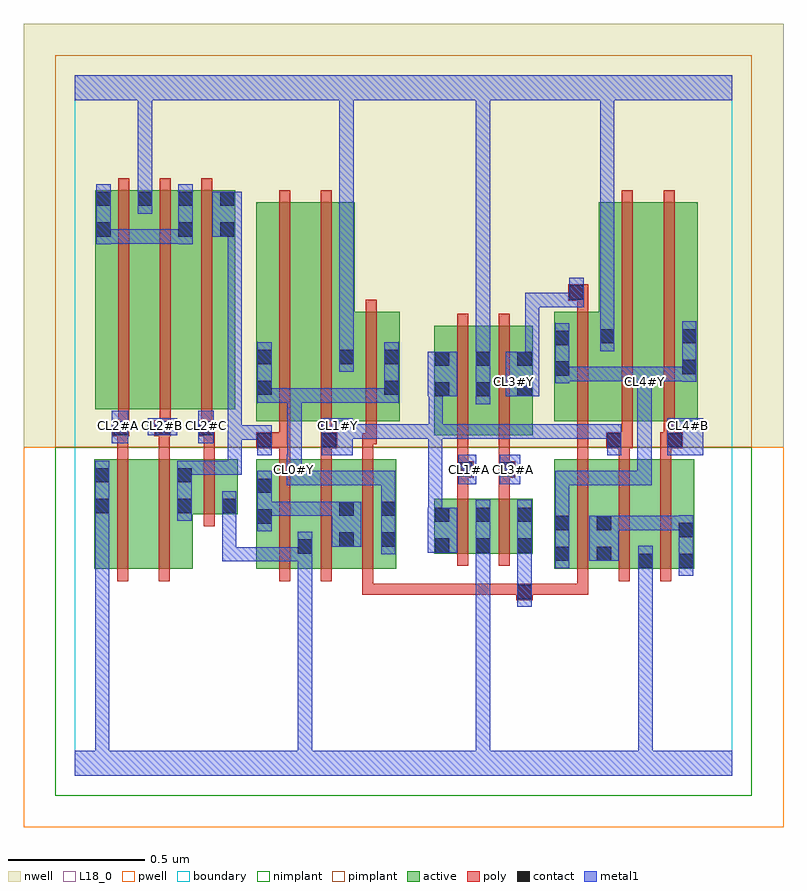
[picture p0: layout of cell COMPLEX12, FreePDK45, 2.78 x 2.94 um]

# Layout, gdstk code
import gdstk
lib = gdstk.Library(unit=1e-6, precision=1e-09)
def R(c, l, rs):  # rectangles x0, y0, x1, y1
    for r in rs: c.add(gdstk.rectangle(r[:2], r[2:], *l))
def A(c, l, x, y, w, h, nx, ny, dx, dy):  # array of equal rectangles
    R(c, l, [(x+i*dx, y+j*dy, x+i*dx+w, y+j*dy+h) for i in range(nx) for j in range(ny)])
active = (1, 0)
pwell = (2, 0)
nwell = (3, 0)
nimplant = (4, 0)
pimplant = (5, 0)
poly = (9, 0)
contact = (10, 0)
metal1 = (11, 0)
L18_0 = (18, 0)
boundary = (235, 0)

complex12 = lib.new_cell('COMPLEX12')
R(complex12, active, [(0.07,0.756,0.13,1.156), (0.07,0.756,0.25,1.156), (0.25,0.756,0.43,1.156), (0.662,0.756,0.722,1.156), (0.662,0.756,0.87,1.156), (0.81,0.756,1.022,1.156), (0.81,0.756,0.87,0.898), (0.962,0.756,1.174,1.156), (0.962,0.756,1.022,1.01), (1.114,0.756,1.174,1.156), (1.75,0.756,1.81,1.156), (1.75,0.756,1.962,1.156), (1.902,0.756,2.114,1.156), (1.902,0.756,1.962,0.954), (2.054,0.756,2.262,1.156), (2.054,0.756,2.114,0.816), (2.202,0.756,2.262,1.156), (0.37,0.812,0.43,1.128), (1.312,0.812,1.372,1.012), (1.312,0.812,1.52,1.012), (1.46,0.812,1.52,1.012), (1.46,0.812,1.672,1.012), (1.612,0.812,1.672,1.012), (0.37,0.956,0.594,1.156), (0.534,0.956,0.594,1.156), (1.312,1.244,1.372,1.644), (1.312,1.244,1.52,1.644), (1.46,1.244,1.672,1.644), (1.612,1.244,1.672,1.644), (0.662,1.296,0.722,2.044), (0.662,1.296,0.842,2.096), (0.842,1.296,1.022,2.096), (0.962,1.296,1.186,1.696), (1.126,1.296,1.186,1.644), (1.46,1.296,1.52,1.644), (1.75,1.296,1.81,1.696), (1.75,1.296,1.974,1.696), (1.914,1.296,2.094,2.096), (1.914,1.296,1.974,1.93), (2.094,1.296,2.274,2.096), (2.214,1.296,2.274,2.044), (0.074,1.34,0.134,2.14), (0.074,1.34,0.286,2.14), (0.226,1.34,0.434,2.14), (0.226,1.34,0.286,2.138), (0.374,1.34,0.434,2.14), (0.374,1.34,0.586,2.14), (0.526,1.34,0.586,2.14), (0.962,1.348,1.022,1.696)])
R(complex12, pwell, [(-0.188,-0.188,2.588,1.2)])
R(complex12, nwell, [(-0.188,1.2,2.588,2.748)])
R(complex12, nimplant, [(-0.072,-0.072,2.472,1.2)])
R(complex12, pimplant, [(-0.072,1.2,2.472,2.632)])
A(complex12, poly, 0.746, 0.712, 0.04, 0.488, 3, 1, 0.152, 0)
A(complex12, poly, 1.834, 0.712, 0.04, 0.488, 3, 1, 0.152, 0)
A(complex12, poly, 0.158, 1.26, 0.04, 0.076, 3, 1, 0.152, 0)
A(complex12, poly, 0.158, 1.296, 0.04, 0.888, 3, 1, 0.152, 0)
R(complex12, poly, [(1.612,0.642,1.672,0.702), (1.05,0.662,1.09,0.702), (1.05,0.662,1.09,0.752), (1.05,0.662,1.33,0.702), (1.29,0.662,1.33,0.702), (1.29,0.662,1.33,0.702), (1.29,0.662,1.33,0.702), (1.29,0.662,1.436,0.702), (1.396,0.662,1.436,0.702), (1.396,0.662,1.436,0.702), (1.396,0.662,1.436,0.702), (1.396,0.662,1.652,0.702), (1.632,0.662,1.672,0.702), (1.632,0.662,1.672,0.702), (1.632,0.662,1.874,0.702), (1.834,0.662,1.874,0.702), (1.834,0.662,1.874,0.702), (1.834,0.662,1.874,0.702), (1.834,0.662,1.874,0.752), (0.154,0.712,0.194,1.2), (0.306,0.712,0.346,1.2), (1.396,0.768,1.436,1.056), (1.548,0.768,1.588,1.056), (0.47,0.912,0.51,1.2), (1.396,1.016,1.436,1.13), (1.548,1.016,1.588,1.13), (1.396,1.09,1.456,1.15), (1.548,1.09,1.608,1.15), (1.396,1.11,1.436,1.15), (1.396,1.11,1.436,1.15), (1.396,1.11,1.436,1.24), (1.548,1.11,1.588,1.15), (1.548,1.11,1.588,1.15), (1.548,1.11,1.588,1.24), (0.154,1.16,0.194,1.28), (0.306,1.16,0.346,1.28), (0.47,1.16,0.51,1.28), (0.746,1.16,0.786,1.236), (0.898,1.16,0.938,1.236), (1.05,1.16,1.09,1.252), (1.834,1.16,1.874,1.256), (1.986,1.16,2.026,1.236), (2.138,1.16,2.178,1.236), (0.662,1.196,0.786,1.256), (0.898,1.196,0.938,1.236), (0.898,1.196,0.938,1.236), (0.898,1.196,0.958,1.256), (1.94,1.196,2.038,1.256), (1.986,1.196,2.026,1.236), (1.986,1.196,2.026,1.236), (2.138,1.196,2.22,1.256), (1.396,1.2,1.436,1.688), (1.548,1.2,1.588,1.688), (1.05,1.212,1.102,1.252), (1.062,1.212,1.102,1.252), (1.062,1.212,1.102,1.252), (1.062,1.212,1.102,1.292), (0.746,1.216,0.786,1.292), (0.746,1.216,0.786,1.256), (0.746,1.216,0.786,1.256), (0.898,1.216,0.938,1.292), (1.834,1.216,1.874,1.292), (1.834,1.216,1.874,1.256), (1.834,1.216,1.874,1.256), (1.834,1.216,1.874,1.256), (1.998,1.216,2.038,1.292), (2.15,1.216,2.19,1.292), (2.15,1.216,2.19,1.256), (2.15,1.216,2.19,1.256), (0.138,1.24,0.198,1.3), (0.154,1.24,0.194,1.28), (0.154,1.24,0.194,1.28), (0.29,1.24,0.35,1.3), (0.306,1.24,0.346,1.28), (0.306,1.24,0.346,1.28), (0.45,1.24,0.51,1.3), (0.47,1.24,0.51,1.28), (0.47,1.24,0.51,1.28), (0.746,1.252,0.786,2.14), (0.898,1.252,0.938,2.14), (1.062,1.252,1.102,1.74), (1.834,1.252,1.874,1.74), (1.998,1.252,2.038,2.14), (2.15,1.252,2.19,2.14), (1.834,1.7,1.874,1.776), (1.802,1.736,1.874,1.796)])
R(complex12, contact, [(1.616,0.646,1.668,0.698), (2.058,0.76,2.11,0.812), (2.206,0.76,2.258,0.812), (1.754,0.786,1.806,0.838), (1.906,0.786,1.958,0.838), (0.814,0.812,0.866,0.864), (1.316,0.816,1.368,0.868), (1.464,0.816,1.516,0.868), (1.616,0.816,1.668,0.868), (0.966,0.838,1.018,0.89), (1.118,0.838,1.17,0.89), (2.206,0.872,2.258,0.924), (1.754,0.898,1.806,0.95), (1.906,0.898,1.958,0.95), (0.666,0.922,0.718,0.974), (1.316,0.928,1.368,0.98), (1.464,0.928,1.516,0.98), (1.616,0.928,1.668,0.98), (0.966,0.95,1.018,1.002), (1.118,0.95,1.17,1.002), (0.074,0.96,0.126,1.012), (0.374,0.96,0.426,1.012), (0.538,0.96,0.59,1.012), (0.666,1.034,0.718,1.086), (0.074,1.072,0.126,1.124), (0.374,1.072,0.426,1.124), (1.4,1.094,1.452,1.146), (1.552,1.094,1.604,1.146), (0.666,1.2,0.718,1.252), (0.902,1.2,0.954,1.252), (1.944,1.2,1.996,1.252), (2.164,1.2,2.216,1.252), (0.142,1.244,0.194,1.296), (0.294,1.244,0.346,1.296), (0.454,1.244,0.506,1.296), (1.316,1.386,1.368,1.438), (1.464,1.386,1.516,1.438), (1.616,1.386,1.668,1.438), (0.666,1.392,0.718,1.444), (1.13,1.392,1.182,1.444), (1.754,1.462,1.806,1.514), (2.218,1.468,2.27,1.52), (1.316,1.498,1.368,1.55), (1.464,1.498,1.516,1.55), (1.616,1.498,1.668,1.55), (0.666,1.504,0.718,1.556), (0.966,1.504,1.018,1.556), (1.13,1.504,1.182,1.556), (1.754,1.574,1.806,1.626), (1.918,1.58,1.97,1.632), (2.218,1.58,2.27,1.632), (1.806,1.74,1.858,1.792), (0.078,1.97,0.13,2.022), (0.378,1.97,0.43,2.022), (0.53,1.97,0.582,2.022), (0.078,2.082,0.13,2.134), (0.23,2.082,0.282,2.134), (0.378,2.082,0.43,2.134), (0.53,2.082,0.582,2.134)])
R(complex12, metal1, [(0,0,2.4,0.092), (0.074,0.04,0.126,0.092), (0.074,0.04,0.126,0.092), (0.074,0.04,0.126,0.092), (0.074,0.04,0.126,0.092), (0.074,0.04,0.126,0.092), (0.074,0.04,0.126,0.092), (0.074,0.04,0.126,0.092), (0.074,0.04,0.126,0.092), (0.074,0.04,0.126,0.092), (0.074,0.04,0.126,0.092), (0.074,0.04,0.126,0.092), (0.074,0.04,0.126,0.092), (0.074,0.04,0.126,0.984), (0.814,0.04,0.866,0.092), (0.814,0.04,0.866,0.092), (0.814,0.04,0.866,0.092), (0.814,0.04,0.866,0.092), (0.814,0.04,0.866,0.092), (0.814,0.04,0.866,0.092), (0.814,0.04,0.866,0.092), (0.814,0.04,0.866,0.092), (0.814,0.04,0.866,0.092), (0.814,0.04,0.866,0.092), (0.814,0.04,0.866,0.092), (0.814,0.04,0.866,0.092), (0.814,0.04,0.866,0.836), (1.464,0.04,1.516,0.092), (1.464,0.04,1.516,0.092), (1.464,0.04,1.516,0.092), (1.464,0.04,1.516,0.092), (1.464,0.04,1.516,0.092), (1.464,0.04,1.516,0.092), (1.464,0.04,1.516,0.092), (1.464,0.04,1.516,0.092), (1.464,0.04,1.516,0.092), (1.464,0.04,1.516,0.092), (1.464,0.04,1.516,0.092), (1.464,0.04,1.516,0.092), (1.464,0.04,1.516,0.092), (1.464,0.04,1.516,0.092), (1.464,0.04,1.516,0.092), (1.464,0.04,1.516,0.092), (1.464,0.04,1.516,0.84), (2.058,0.04,2.11,0.092), (2.058,0.04,2.11,0.092), (2.058,0.04,2.11,0.092), (2.058,0.04,2.11,0.092), (2.058,0.04,2.11,0.784), (1.616,0.618,1.668,0.726), (1.616,0.674,1.668,0.726), (1.616,0.674,1.668,0.726), (1.616,0.674,1.668,0.84), (2.058,0.732,2.11,0.784), (2.058,0.732,2.11,0.784), (2.058,0.732,2.11,0.784), (2.058,0.732,2.11,0.784), (2.058,0.732,2.11,0.784), (2.058,0.732,2.11,0.784), (2.058,0.732,2.11,0.784), (2.058,0.732,2.11,0.784), (2.058,0.732,2.11,0.84), (2.206,0.732,2.258,0.952), (1.754,0.758,1.806,0.978), (0.538,0.784,0.59,0.836), (0.538,0.784,0.616,0.836), (0.538,0.784,0.59,0.984), (0.564,0.784,0.616,0.836), (0.564,0.784,0.844,0.836), (0.792,0.784,0.844,0.836), (0.792,0.784,0.866,0.836), (0.814,0.784,0.866,0.892), (1.878,0.786,1.986,0.95), (1.464,0.788,1.516,1.008), (1.616,0.788,1.668,0.84), (1.616,0.788,1.668,0.84), (1.616,0.788,1.668,0.84), (1.616,0.788,1.668,0.84), (1.616,0.788,1.668,1.008), (1.118,0.81,1.17,1.03), (1.288,0.816,1.396,0.98), (0.938,0.838,1.046,1.002), (0.666,0.894,0.718,1.114), (1.934,0.898,2.106,0.95), (2.054,0.898,2.106,0.95), (2.054,0.898,2.106,0.95), (2.054,0.898,2.106,0.95), (2.054,0.898,2.258,0.95), (2.206,0.898,2.258,0.95), (2.206,0.898,2.258,0.95), (1.754,0.926,1.806,1.114), (1.29,0.928,1.342,1.284), (0.074,0.932,0.126,1.152), (0.374,0.932,0.426,1.152), (0.538,0.932,0.59,0.984), (0.538,0.932,0.59,0.984), (0.538,0.932,0.59,1.04), (0.666,0.95,0.828,1.002), (0.776,0.95,0.828,1.002), (0.776,0.95,0.828,1.002), (0.776,0.95,0.828,1.002), (0.776,0.95,0.99,1.002), (0.938,0.95,0.99,1.002), (0.938,0.95,0.99,1.002), (1.118,0.978,1.17,1.114), (0.774,1.062,0.828,1.174), (0.776,1.062,0.954,1.114), (0.902,1.062,0.954,1.114), (0.902,1.062,0.954,1.114), (0.902,1.062,0.954,1.114), (0.902,1.062,1.17,1.114), (1.118,1.062,1.17,1.114), (1.118,1.062,1.17,1.114), (1.118,1.062,1.17,1.114), (1.754,1.062,1.806,1.114), (1.754,1.062,1.806,1.114), (1.754,1.062,1.806,1.114), (1.754,1.062,1.926,1.114), (1.874,1.062,1.926,1.114), (1.874,1.062,1.926,1.114), (1.874,1.062,1.926,1.114), (1.874,1.062,2.106,1.114), (2.054,1.062,2.106,1.114), (2.054,1.062,2.106,1.438), (1.4,1.066,1.466,1.174), (1.552,1.066,1.626,1.174), (0.374,1.1,0.426,1.152), (0.374,1.1,0.426,1.152), (0.374,1.1,0.61,1.152), (0.558,1.1,0.61,1.152), (0.558,1.1,0.61,1.28), (0.776,1.122,0.828,1.174), (0.776,1.122,0.828,1.174), (0.776,1.122,0.828,1.416), (0.666,1.172,0.718,1.28), (0.902,1.172,1.014,1.306), (1.944,1.172,1.996,1.28), (2.164,1.172,2.294,1.306), (0.134,1.216,0.194,1.334), (0.45,1.216,0.506,1.334), (0.558,1.228,0.61,1.28), (0.558,1.228,0.61,1.28), (0.558,1.228,0.61,1.28), (0.558,1.228,0.672,1.28), (0.558,1.228,0.61,2.022), (0.62,1.228,0.672,1.28), (0.62,1.228,0.718,1.28), (1.944,1.228,1.996,1.28), (1.944,1.228,1.996,1.284), (0.962,1.232,1.014,1.284), (0.962,1.232,1.014,1.284), (0.962,1.232,1.218,1.284), (1.166,1.232,1.218,1.284), (1.166,1.232,1.218,1.284), (1.166,1.232,1.218,1.284), (1.166,1.232,1.342,1.284), (1.29,1.232,1.342,1.284), (1.29,1.232,1.342,1.284), (1.29,1.232,1.344,1.284), (1.292,1.232,1.344,1.284), (1.292,1.232,1.344,1.284), (1.292,1.232,1.508,1.284), (1.292,1.232,1.344,1.438), (1.456,1.232,1.508,1.284), (1.456,1.232,1.508,1.284), (1.456,1.232,1.508,1.284), (1.456,1.232,1.696,1.284), (1.644,1.232,1.696,1.284), (1.644,1.232,1.816,1.284), (1.764,1.232,1.816,1.284), (1.764,1.232,1.816,1.284), (1.764,1.232,1.816,1.284), (1.764,1.232,1.996,1.284), (0.266,1.244,0.374,1.306), (1.464,1.358,1.516,1.578), (0.666,1.364,0.718,1.584), (0.666,1.364,0.828,1.416), (0.776,1.364,0.828,1.416), (0.776,1.364,0.828,1.416), (0.776,1.364,0.828,1.416), (0.776,1.364,0.954,1.416), (0.902,1.364,0.954,1.416), (0.902,1.364,0.954,1.416), (0.902,1.364,0.954,1.416), (0.902,1.364,1.182,1.416), (1.13,1.364,1.182,1.416), (1.13,1.364,1.182,1.416), (1.13,1.364,1.182,1.584), (1.288,1.386,1.396,1.55), (1.574,1.386,1.696,1.55), (2.054,1.386,2.106,1.494), (1.754,1.434,1.806,1.654), (2.218,1.44,2.27,1.66), (1.754,1.442,1.806,1.494), (1.754,1.442,1.806,1.494), (1.754,1.442,1.942,1.494), (1.89,1.442,1.942,1.494), (1.89,1.442,1.942,1.494), (1.89,1.442,1.942,1.494), (1.89,1.442,2.106,1.494), (2.054,1.442,2.106,1.494), (2.054,1.442,2.106,1.494), (2.054,1.442,2.27,1.494), (2.218,1.442,2.27,1.494), (2.218,1.442,2.27,1.494), (0.966,1.476,1.018,1.584), (1.644,1.498,1.696,1.764), (1.464,1.526,1.516,1.578), (1.464,1.526,1.516,1.578), (1.464,1.526,1.516,2.52), (0.966,1.532,1.018,2.52), (1.918,1.552,1.97,1.66), (1.918,1.608,1.97,1.66), (1.918,1.608,1.97,1.66), (1.918,1.608,1.97,1.66), (1.918,1.608,1.97,1.66), (1.918,1.608,1.97,2.52), (1.644,1.712,1.696,1.764), (1.644,1.712,1.778,1.764), (1.726,1.712,1.778,1.764), (1.726,1.712,1.858,1.764), (1.806,1.712,1.858,1.82), (0.078,1.942,0.13,2.162), (0.378,1.942,0.43,2.162), (0.078,1.944,0.13,1.996), (0.078,1.944,0.13,1.996), (0.078,1.944,0.316,1.996), (0.264,1.944,0.316,1.996), (0.264,1.944,0.316,1.996), (0.264,1.944,0.316,1.996), (0.264,1.944,0.43,1.996), (0.502,1.97,0.61,2.134), (0.23,2.054,0.282,2.162), (0.23,2.11,0.282,2.52), (0,2.468,2.4,2.56), (0.23,2.468,0.282,2.52), (0.23,2.468,0.282,2.52), (0.23,2.468,0.282,2.52), (0.23,2.468,0.282,2.52), (0.23,2.468,0.282,2.52), (0.23,2.468,0.282,2.52), (0.23,2.468,0.282,2.52), (0.23,2.468,0.282,2.52), (0.966,2.468,1.018,2.52), (0.966,2.468,1.018,2.52), (0.966,2.468,1.018,2.52), (0.966,2.468,1.018,2.52), (0.966,2.468,1.018,2.52), (0.966,2.468,1.018,2.52), (0.966,2.468,1.018,2.52), (0.966,2.468,1.018,2.52), (1.464,2.468,1.516,2.52), (1.464,2.468,1.516,2.52), (1.464,2.468,1.516,2.52), (1.464,2.468,1.516,2.52), (1.464,2.468,1.516,2.52), (1.464,2.468,1.516,2.52), (1.464,2.468,1.516,2.52), (1.464,2.468,1.516,2.52), (1.464,2.468,1.516,2.52), (1.464,2.468,1.516,2.52), (1.464,2.468,1.516,2.52), (1.464,2.468,1.516,2.52), (1.464,2.468,1.516,2.52), (1.464,2.468,1.516,2.52), (1.918,2.468,1.97,2.52), (1.918,2.468,1.97,2.52), (1.918,2.468,1.97,2.52), (1.918,2.468,1.97,2.52)])
A(complex12, L18_0, 0.134, 1.254, 0.052, 0.052, 3, 1, 0.16, 0)
R(complex12, L18_0, [(0,0,2.4,0.092), (0.074,0.04,0.126,0.092), (0.074,0.04,0.126,0.092), (0.074,0.04,0.126,0.092), (0.074,0.04,0.126,0.092), (0.074,0.04,0.126,0.092), (0.074,0.04,0.126,0.092), (0.074,0.04,0.126,0.092), (0.074,0.04,0.126,0.092), (0.074,0.04,0.126,0.092), (0.074,0.04,0.126,0.092), (0.074,0.04,0.126,0.092), (0.074,0.04,0.126,0.092), (0.074,0.04,0.126,0.984), (0.814,0.04,0.866,0.092), (0.814,0.04,0.866,0.092), (0.814,0.04,0.866,0.092), (0.814,0.04,0.866,0.092), (0.814,0.04,0.866,0.092), (0.814,0.04,0.866,0.092), (0.814,0.04,0.866,0.092), (0.814,0.04,0.866,0.092), (0.814,0.04,0.866,0.092), (0.814,0.04,0.866,0.092), (0.814,0.04,0.866,0.092), (0.814,0.04,0.866,0.092), (0.814,0.04,0.866,0.836), (1.464,0.04,1.516,0.092), (1.464,0.04,1.516,0.092), (1.464,0.04,1.516,0.092), (1.464,0.04,1.516,0.092), (1.464,0.04,1.516,0.092), (1.464,0.04,1.516,0.092), (1.464,0.04,1.516,0.092), (1.464,0.04,1.516,0.092), (1.464,0.04,1.516,0.092), (1.464,0.04,1.516,0.092), (1.464,0.04,1.516,0.092), (1.464,0.04,1.516,0.092), (1.464,0.04,1.516,0.092), (1.464,0.04,1.516,0.092), (1.464,0.04,1.516,0.092), (1.464,0.04,1.516,0.092), (1.464,0.04,1.516,0.84), (2.058,0.04,2.11,0.092), (2.058,0.04,2.11,0.092), (2.058,0.04,2.11,0.092), (2.058,0.04,2.11,0.092), (2.058,0.04,2.11,0.784), (1.616,0.618,1.668,0.726), (1.616,0.674,1.668,0.726), (1.616,0.674,1.668,0.726), (1.616,0.674,1.668,0.84), (2.058,0.732,2.11,0.784), (2.058,0.732,2.11,0.784), (2.058,0.732,2.11,0.784), (2.058,0.732,2.11,0.784), (2.058,0.732,2.11,0.784), (2.058,0.732,2.11,0.784), (2.058,0.732,2.11,0.784), (2.058,0.732,2.11,0.784), (2.058,0.732,2.11,0.84), (1.754,0.758,1.806,0.978), (0.538,0.784,0.59,0.836), (0.538,0.784,0.59,0.984), (0.538,0.784,0.616,0.836), (0.564,0.784,0.616,0.836), (0.564,0.784,0.844,0.836), (0.792,0.784,0.844,0.836), (0.792,0.784,0.866,0.836), (0.814,0.784,0.866,0.892), (1.464,0.788,1.516,1.008), (1.616,0.788,1.668,0.84), (1.616,0.788,1.668,0.84), (1.616,0.788,1.668,0.84), (1.616,0.788,1.668,0.84), (1.616,0.788,1.668,1.008), (1.118,0.81,1.17,1.03), (1.288,0.816,1.396,0.98), (1.754,0.926,1.806,1.114), (1.29,0.928,1.342,1.284), (0.074,0.932,0.126,1.152), (0.538,0.932,0.59,0.984), (0.538,0.932,0.59,0.984), (0.538,0.932,0.59,1.04), (1.118,0.978,1.17,1.114), (0.774,1.062,0.828,1.174), (0.776,1.062,0.954,1.114), (0.902,1.062,0.954,1.114), (0.902,1.062,0.954,1.114), (0.902,1.062,0.954,1.114), (0.902,1.062,1.17,1.114), (1.118,1.062,1.17,1.114), (1.118,1.062,1.17,1.114), (1.118,1.062,1.17,1.114), (1.754,1.062,1.806,1.114), (1.754,1.062,1.806,1.114), (1.754,1.062,1.806,1.114), (1.754,1.062,1.926,1.114), (1.874,1.062,1.926,1.114), (1.874,1.062,1.926,1.114), (1.874,1.062,1.926,1.114), (1.874,1.062,2.106,1.114), (2.054,1.062,2.106,1.114), (2.054,1.062,2.106,1.438), (1.4,1.066,1.466,1.174), (1.552,1.066,1.626,1.174), (0.774,1.094,0.826,1.146), (1.414,1.094,1.466,1.146), (1.574,1.094,1.626,1.146), (0.776,1.122,0.828,1.174), (0.776,1.122,0.828,1.174), (0.776,1.122,0.828,1.416), (0.902,1.172,1.014,1.306), (1.944,1.172,1.996,1.28), (2.164,1.172,2.294,1.306), (0.134,1.216,0.194,1.334), (0.45,1.216,0.506,1.334), (1.944,1.228,1.996,1.28), (1.944,1.228,1.996,1.284), (0.962,1.232,1.014,1.284), (0.962,1.232,1.014,1.284), (0.962,1.232,1.218,1.284), (1.166,1.232,1.218,1.284), (1.166,1.232,1.218,1.284), (1.166,1.232,1.218,1.284), (1.166,1.232,1.342,1.284), (1.29,1.232,1.342,1.284), (1.29,1.232,1.342,1.284), (1.29,1.232,1.344,1.284), (1.292,1.232,1.344,1.284), (1.292,1.232,1.344,1.284), (1.292,1.232,1.344,1.438), (1.292,1.232,1.508,1.284), (1.456,1.232,1.508,1.284), (1.456,1.232,1.508,1.284), (1.456,1.232,1.508,1.284), (1.456,1.232,1.696,1.284), (1.644,1.232,1.696,1.284), (1.644,1.232,1.816,1.284), (1.764,1.232,1.816,1.284), (1.764,1.232,1.816,1.284), (1.764,1.232,1.816,1.284), (1.764,1.232,1.996,1.284), (0.266,1.244,0.374,1.306), (0.934,1.254,0.986,1.306), (2.214,1.254,2.266,1.306), (1.464,1.358,1.516,1.578), (0.666,1.364,0.718,1.584), (0.666,1.364,0.828,1.416), (0.776,1.364,0.828,1.416), (0.776,1.364,0.828,1.416), (0.776,1.364,0.828,1.416), (0.776,1.364,0.954,1.416), (0.902,1.364,0.954,1.416), (0.902,1.364,0.954,1.416), (0.902,1.364,0.954,1.416), (0.902,1.364,1.182,1.416), (1.13,1.364,1.182,1.416), (1.13,1.364,1.182,1.416), (1.13,1.364,1.182,1.584), (1.288,1.386,1.396,1.55), (1.574,1.386,1.696,1.55), (2.054,1.386,2.106,1.494), (1.574,1.414,1.626,1.466), (2.054,1.414,2.106,1.466), (1.754,1.434,1.806,1.654), (2.218,1.44,2.27,1.66), (1.754,1.442,1.806,1.494), (1.754,1.442,1.806,1.494), (1.754,1.442,1.942,1.494), (1.89,1.442,1.942,1.494), (1.89,1.442,1.942,1.494), (1.89,1.442,1.942,1.494), (1.89,1.442,2.106,1.494), (2.054,1.442,2.106,1.494), (2.054,1.442,2.106,1.494), (2.054,1.442,2.27,1.494), (2.218,1.442,2.27,1.494), (2.218,1.442,2.27,1.494), (0.966,1.476,1.018,1.584), (1.644,1.498,1.696,1.764), (1.464,1.526,1.516,1.578), (1.464,1.526,1.516,1.578), (1.464,1.526,1.516,2.52), (0.966,1.532,1.018,2.52), (1.918,1.552,1.97,1.66), (1.918,1.608,1.97,1.66), (1.918,1.608,1.97,1.66), (1.918,1.608,1.97,1.66), (1.918,1.608,1.97,1.66), (1.918,1.608,1.97,2.52), (1.644,1.712,1.696,1.764), (1.644,1.712,1.778,1.764), (1.726,1.712,1.778,1.764), (1.726,1.712,1.858,1.764), (1.806,1.712,1.858,1.82), (0.23,2.054,0.282,2.162), (0.23,2.11,0.282,2.52), (0,2.468,2.4,2.56), (0.23,2.468,0.282,2.52), (0.23,2.468,0.282,2.52), (0.23,2.468,0.282,2.52), (0.23,2.468,0.282,2.52), (0.23,2.468,0.282,2.52), (0.23,2.468,0.282,2.52), (0.23,2.468,0.282,2.52), (0.23,2.468,0.282,2.52), (0.966,2.468,1.018,2.52), (0.966,2.468,1.018,2.52), (0.966,2.468,1.018,2.52), (0.966,2.468,1.018,2.52), (0.966,2.468,1.018,2.52), (0.966,2.468,1.018,2.52), (0.966,2.468,1.018,2.52), (0.966,2.468,1.018,2.52), (1.464,2.468,1.516,2.52), (1.464,2.468,1.516,2.52), (1.464,2.468,1.516,2.52), (1.464,2.468,1.516,2.52), (1.464,2.468,1.516,2.52), (1.464,2.468,1.516,2.52), (1.464,2.468,1.516,2.52), (1.464,2.468,1.516,2.52), (1.464,2.468,1.516,2.52), (1.464,2.468,1.516,2.52), (1.464,2.468,1.516,2.52), (1.464,2.468,1.516,2.52), (1.464,2.468,1.516,2.52), (1.464,2.468,1.516,2.52), (1.918,2.468,1.97,2.52), (1.918,2.468,1.97,2.52), (1.918,2.468,1.97,2.52), (1.918,2.468,1.97,2.52)])
R(complex12, boundary, [(0,0,2.4,2.56)])
complex12.add(gdstk.Label('CL0#Y', (0.8,1.12), layer=11, texttype=0))
complex12.add(gdstk.Label('CL1#A', (1.44,1.12), layer=11, texttype=0))
complex12.add(gdstk.Label('CL1#Y', (0.96,1.28), layer=11, texttype=0))
complex12.add(gdstk.Label('CL2#A', (0.16,1.28), layer=11, texttype=0))
complex12.add(gdstk.Label('CL2#B', (0.32,1.28), layer=11, texttype=0))
complex12.add(gdstk.Label('CL2#C', (0.48,1.28), layer=11, texttype=0))
complex12.add(gdstk.Label('CL3#A', (1.6,1.12), layer=11, texttype=0))
complex12.add(gdstk.Label('CL3#Y', (1.6,1.44), layer=11, texttype=0))
complex12.add(gdstk.Label('CL4#B', (2.24,1.28), layer=11, texttype=0))
complex12.add(gdstk.Label('CL4#Y', (2.08,1.44), layer=11, texttype=0))

lib.write_gds('COMPLEX12.gds')
